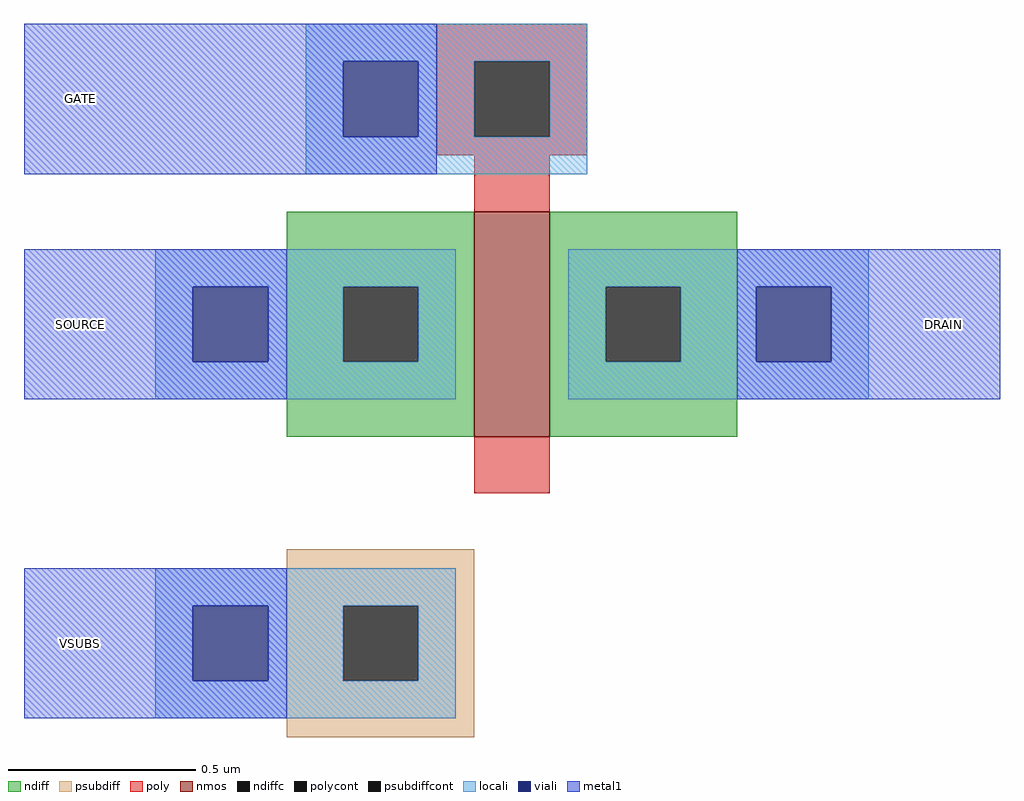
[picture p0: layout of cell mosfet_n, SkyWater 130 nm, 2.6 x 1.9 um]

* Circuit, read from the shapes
.subckt mosfet_n SOURCE GATE VSUBS DRAIN
XM1 DRAIN GATE SOURCE VSUBS sky130_fd_pr__nfet_01v8 w=0.6 l=0.2
.ends

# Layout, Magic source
magic
tech sky130A
<< nmos >>
rect 50 0 70 60
<< ndiff >>
rect 0 40 50 60
rect 0 20 15 40
rect 35 20 50 40
rect 0 0 50 20
rect 70 40 120 60
rect 70 20 85 40
rect 105 20 120 40
rect 70 0 120 20
<< ndiffc >>
rect 15 20 35 40
rect 85 20 105 40
<< psubdiff >>
rect 0 -45 50 -30
rect 0 -65 15 -45
rect 35 -65 50 -45
rect 0 -80 50 -65
<< psubdiffcont >>
rect 15 -65 35 -45
<< poly >>
rect 40 100 80 110
rect 40 80 50 100
rect 70 80 80 100
rect 40 75 80 80
rect 50 60 70 75
rect 50 -15 70 0
<< polycont >>
rect 50 80 70 100
<< locali >>
rect 5 100 80 110
rect 5 80 15 100
rect 35 80 50 100
rect 70 80 80 100
rect 5 70 80 80
rect -35 40 45 50
rect -35 20 -25 40
rect -5 20 15 40
rect 35 20 45 40
rect -35 10 45 20
rect 75 40 155 50
rect 75 20 85 40
rect 105 20 125 40
rect 145 20 155 40
rect 75 10 155 20
rect -35 -45 45 -35
rect -35 -65 -25 -45
rect -5 -65 15 -45
rect 35 -65 45 -45
rect -35 -75 45 -65
<< viali >>
rect 15 80 35 100
rect -25 20 -5 40
rect 125 20 145 40
rect -25 -65 -5 -45
<< metal1 >>
rect -70 100 40 110
rect -70 80 15 100
rect 35 80 40 100
rect -70 70 40 80
rect -70 40 0 50
rect -70 20 -25 40
rect -5 20 0 40
rect -70 10 0 20
rect 120 40 190 50
rect 120 20 125 40
rect 145 20 190 40
rect 120 10 190 20
rect -70 -45 0 -35
rect -70 -65 -25 -45
rect -5 -65 0 -45
rect -70 -75 0 -65
<< labels >>
rlabel metal1 -55 30 -55 30 1 SOURCE
port 1 n
rlabel metal1 -55 90 -55 90 1 GATE
port 2 n
rlabel metal1 -55 -55 -55 -55 1 VSUBS
port 3 n
rlabel metal1 175 30 175 30 1 DRAIN
port 4 n
<< end >>
